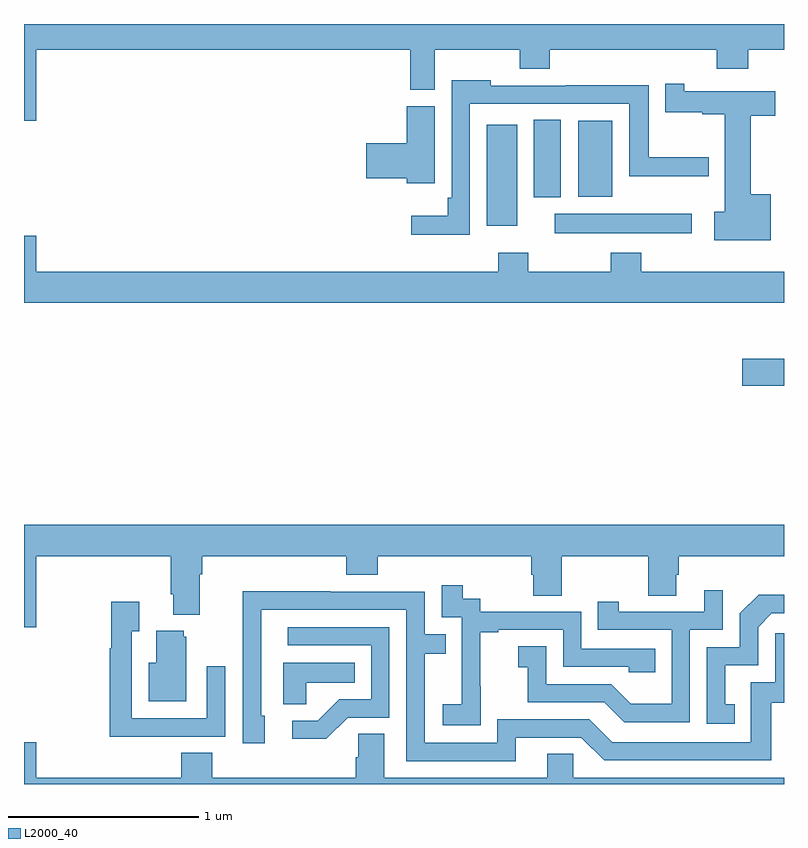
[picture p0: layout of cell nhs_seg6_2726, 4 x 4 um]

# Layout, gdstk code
import gdstk
lib = gdstk.Library(unit=1e-6, precision=1e-09)
def R(c, l, rs):  # rectangles x0, y0, x1, y1
    for r in rs: c.add(gdstk.rectangle(r[:2], r[2:], *l))
def P(c, l, *ps):  # polygons
    for p in ps: c.add(gdstk.Polygon(p, *l))
L2000_40 = (2000, 40)

nhs_seg6_2726 = lib.new_cell('nhs_seg6_2726')
R(nhs_seg6_2726, L2000_40, [(276.78,917.597,277,917.739), (275.793,918.398,276.514,918.502), (275.435,918.438,275.596,918.97), (275.684,918.587,275.824,918.995), (275.918,918.59,276.097,918.991)])
P(nhs_seg6_2726, L2000_40, [(273.064,919.364),(275.033,919.364),(275.033,919.153),(275.161,919.153),(275.161,919.364),(275.608,919.364),(275.608,919.265),(275.768,919.265),(275.768,919.364),(276.647,919.364),(276.647,919.265),(276.812,919.265),(276.812,919.364),(277,919.364),(277,919.5),(273,919.5),(273,918.99),(273.064,918.99)],
  [(275.346,919.08),(276.185,919.08),(276.185,918.698),(276.604,918.698),(276.604,918.798),(276.289,918.798),(276.289,919.178),(275.851,919.178),(275.851,919.176),(275.457,919.176),(275.457,919.204),(275.25,919.204),(275.25,918.586),(275.23,918.586),(275.23,918.49),(275.037,918.49),(275.037,918.392),(275.346,918.392)],
  [(276.931,918.604),(276.824,918.604),(276.824,919.018),(276.955,919.018),(276.955,919.147),(276.474,919.147),(276.474,919.186),(276.374,919.186),(276.374,919.036),(276.57,919.036),(276.57,919.025),(276.689,919.025),(276.689,918.512),(276.633,918.512),(276.633,918.362),(276.931,918.362)],
  [(275.161,919.068),(275.015,919.068),(275.015,918.872),(274.8,918.872),(274.8,918.689),(275.015,918.689),(275.015,918.662),(275.161,918.662)],
  [(277,918.196),(276.248,918.196),(276.248,918.295),(276.088,918.295),(276.088,918.196),(275.655,918.196),(275.655,918.295),(275.495,918.295),(275.495,918.196),(273.064,918.196),(273.064,918.385),(273,918.385),(273,918.032),(277,918.032)],
  [(273.064,916.7),(273.773,916.7),(273.773,916.498),(273.785,916.498),(273.785,916.391),(273.925,916.391),(273.925,916.604),(273.938,916.604),(273.938,916.7),(274.697,916.7),(274.697,916.601),(274.862,916.601),(274.862,916.7),(275.669,916.7),(275.669,916.602),(275.681,916.602),(275.681,916.492),(275.829,916.492),(275.829,916.7),(276.286,916.7),(276.286,916.492),(276.433,916.492),(276.433,916.602),(276.446,916.602),(276.446,916.7),(277,916.7),(277,916.864),(273,916.864),(273,916.326),(273.064,916.326)],
  [(275.403,916.015),(275.402,916.015),(275.402,916.299),(275.497,916.299),(275.497,916.311),(275.838,916.311),(275.838,916.116),(276.183,916.116),(276.183,916.089),(276.323,916.089),(276.323,916.212),(275.934,916.212),(275.934,916.407),(275.4,916.407),(275.4,916.476),(275.308,916.476),(275.308,916.546),(275.199,916.546),(275.199,916.377),(275.304,916.377),(275.304,916.148),(275.303,916.148),(275.303,915.919),(275.205,915.919),(275.205,915.809),(275.403,915.809)],
  [(276.504,916.311),(276.678,916.311),(276.678,916.519),(276.581,916.519),(276.581,916.407),(276.13,916.407),(276.13,916.459),(276.019,916.459),(276.019,916.311),(276.408,916.311),(276.408,915.922),(276.194,915.922),(276.09,916.026),(275.748,916.026),(275.748,916.225),(275.601,916.225),(275.601,916.115),(275.65,916.115),(275.65,915.93),(276.053,915.93),(276.158,915.825),(276.504,915.825)],
  [(275.587,915.744),(275.934,915.744),(276.054,915.624),(276.934,915.624),(276.934,915.927),(277,915.927),(277,916.294),(276.954,916.294),(276.954,916.035),(276.825,916.035),(276.825,915.72),(276.096,915.72),(275.976,915.84),(275.49,915.84),(275.49,915.717),(275.109,915.717),(275.109,916.186),(275.219,916.186),(275.219,916.287),(275.109,916.287),(275.109,916.512),(274.613,916.512),(274.613,916.514),(274.15,916.514),(274.15,916.207),(274.152,916.207),(274.152,915.714),(274.267,915.714),(274.267,915.858),(274.248,915.858),(274.248,916.416),(275.013,916.416),(275.013,915.621),(275.587,915.621)],
  [(276.74,915.921),(276.691,915.921),(276.691,916.125),(276.864,916.125),(276.864,916.326),(276.936,916.398),(277,916.398),(277,916.496),(276.866,916.496),(276.768,916.398),(276.768,916.221),(276.594,916.221),(276.594,915.816),(276.74,915.816)],
  [(273.743,915.75),(274.059,915.75),(274.059,916.12),(273.963,916.12),(273.963,915.846),(273.567,915.846),(273.567,916.303),(273.607,916.303),(273.607,916.459),(273.459,916.459),(273.459,916.214),(273.451,916.214),(273.451,915.749),(273.743,915.749)],
  [(274.704,915.849),(274.923,915.849),(274.923,916.326),(274.389,916.326),(274.389,916.23),(274.827,916.23),(274.827,915.945),(274.658,915.945),(274.547,915.834),(274.413,915.834),(274.413,915.737),(274.591,915.737)],
  [(273.853,916.275),(273.842,916.275),(273.842,916.306),(273.695,916.306),(273.695,916.138),(273.656,916.138),(273.656,915.935),(273.853,915.935)],
  [(274.485,916.034),(274.742,916.034),(274.742,916.138),(274.364,916.138),(274.364,915.919),(274.485,915.919)],
  [(273.064,915.721),(273,915.721),(273,915.5),(277,915.5),(277,915.532),(275.892,915.532),(275.892,915.659),(275.753,915.659),(275.753,915.532),(274.897,915.532),(274.897,915.764),(274.758,915.764),(274.758,915.641),(274.745,915.641),(274.745,915.532),(273.992,915.532),(273.992,915.665),(273.827,915.665),(273.827,915.532),(273.064,915.532)])

lib.write_gds('nhs_seg6_2726.gds')
